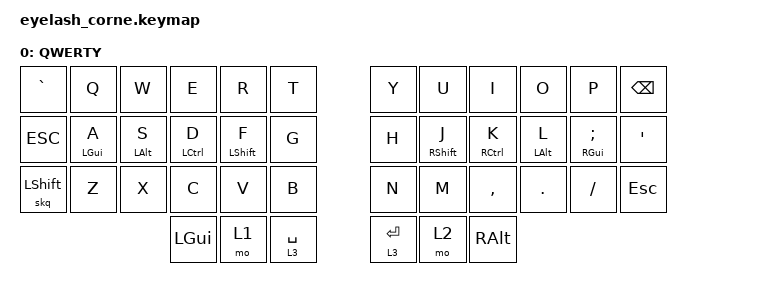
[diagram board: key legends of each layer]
#define ZMK_POINTING_DEFAULT_MOVE_VAL 1200  // 600
#define ZMK_POINTING_DEFAULT_SCRL_VAL 25   // 10

#include <input/processors.dtsi>
#include <zephyr/dt-bindings/input/input-event-codes.h>
#include <behaviors.dtsi>
#include <dt-bindings/zmk/bt.h>
#include <dt-bindings/zmk/keys.h>
#include <dt-bindings/zmk/outputs.h>
#include <dt-bindings/zmk/pointing.h>
#include <dt-bindings/zmk/rgb.h>

// Eyelash corne key positions. Source missing
    // |------------------------|------------------------|
    // | LEFT_HAND_KEYS         |        RIGHT_HAND_KEYS |
    // |                        |                        |
    // | 0  1  2  3  4  5       |      6  7  8  9  10 11 |
    // | 12 13 14 15 16 17      |      18 19 20 21 22 23 |
    // | 24 25 26 27 28 29      |      30 31 32 33 34 35 |
    // |          36 37 38      |      39 40 41          |
    // |------------------------|------------------------|

#define LEFT_HAND_KEYS    \
        0  1  2  3  4  5  \
        12 13 14 15 16 17 \
        24 25 26 27 28 29 \
                 36 37 38

#define RIGHT_HAND_KEYS   \
        6  7  8  9  10 11 \
        18 19 20 21 22 23 \
        30 31 32 33 34 35 \
        39 40 41

#define THUMB_KEYS 36 37 38 39 40 41

/ {
    macros {

        // Create Å character in a macro using Alt-gr
        ao_macro: ao_macro {
            label = "&AO_MACRO";
            compatible = "zmk,behavior-macro";
            #binding-cells = <0>;
            bindings = <&macro_press>
                , <&kp RALT>
                , <&macro_tap>
                , <&kp A>
                , <&macro_release>
                , <&kp RALT>
                , <&macro_tap>
                , <&kp A>;
        };

        // Create Ä character in a macro using Alt-gr
        ae_macro: ae_macro {
            label = "&AE_MACRO";
            compatible = "zmk,behavior-macro";
            #binding-cells = <0>;
            bindings = <&macro_press>
                , <&kp RALT>
                , <&macro_tap>
                , <&kp A>
                , <&macro_release>
                , <&kp RALT>
                , <&macro_press>
                , <&kp LSHFT>
                , <&macro_tap>
                , <&kp SQT>
                , <&macro_release>
                , <&kp LSHFT>;
        };

        // Create Ö character in a macro using Alt-gr
        oe_macro: oe_macro {
            label = "&OE_MACRO";
            compatible = "zmk,behavior-macro";
            #binding-cells = <0>;
            bindings = <&macro_press>
                , <&kp RALT>
                , <&macro_tap>
                , <&kp O>
                , <&macro_release>
                , <&kp RALT>
                , <&macro_press>
                , <&kp LSHFT>
                , <&macro_tap>
                , <&kp SQT>
                , <&macro_release>
                , <&kp LSHFT>;
        };
    };
};

&mmv_input_listener { input-processors = <&zip_xy_scaler 2 1>; };

&msc_input_listener { input-processors = <&zip_scroll_scaler 2 1>; };

&msc {
    acceleration-exponent = <1>;      // 0
    time-to-max-speed-ms = <100>;       // 300
    delay-ms = <0>;                   // 0
};

&mmv {
    time-to-max-speed-ms = <500>;
    acceleration-exponent = <1>;
    trigger-period-ms = <16>;
};

/ {
      combos {
        compatible = "zmk,combos";
        combo_ao_combo {
            timeout-ms = <45>;
            key-positions = <25 9>;
            bindings = <&ao_macro>;
            layers = <0>;
            require-prior-idle-ms = <50>;
        };

        combo_ae_combo {
            timeout-ms = <45>;
            key-positions = <25 15>;
            bindings = <&ae_macro>;
            layers = <0>;
            require-prior-idle-ms = <50>;
        };

        combo_oe_combo {
            timeout-ms = <45>;
            key-positions = <15 9>;
            bindings = <&oe_macro>;
            layers = <0>;
            require-prior-idle-ms = <50>;
        };
      };
    };


behaviors {
    lt {
        flavor = "hold-preferred";
    };
    skq: sticky_key_quick {
        compatible = "zmk,behavior-sticky-key";
        #binding-cells = <1>;
        bindings = <&kp>;
        release-after-ms = <1000>;
        quick-release;
        ignore-modifiers;
    };
    lsd: left_shift_dance {
        compatible = "zmk,behavior-tap-dance";
        #binding-cells = <0>;
        tapping-term-ms = <200>;
        bindings = <&skq LSHIFT>, <&caps_word>;
    };
    rpi: require_prior_idle {
        compatible = "zmk,behavior-hold-tap";
        #binding-cells = <2>;
        flavor = "tap-preferred";
        tapping-term-ms = <200>;
        quick-tap-ms = <250>;
        require-prior-idle-ms = <100>;
        bindings = <&kp>, <&kp>;
    };
    rpil: require_prior_idle_layer {
        compatible = "zmk,behavior-hold-tap";
        #binding-cells = <2>;
        flavor = "tap-preferred";
        tapping-term-ms = <200>;
        quick-tap-ms = <250>;
        require-prior-idle-ms = <100>;
        bindings = <&mo>, <&kp>;
    };
    hrm_left_pinky: hrm_left_pinky {
        compatible = "zmk,behavior-hold-tap";
        flavor = "tap-preferred";
        hold-trigger-key-positions = <RIGHT_HAND_KEYS THUMB_KEYS>;
        hold-trigger-on-release; // wait for other home row mods
        tapping-term-ms = <240>;
        quick-tap-ms = <250>;
        require-prior-idle-ms = <100>;
        #binding-cells = <2>;
        bindings = <&kp>, <&kp>;
    };
    hrm_left_ring: hrm_left_ring {
        compatible = "zmk,behavior-hold-tap";
        flavor = "tap-preferred";
        hold-trigger-key-positions = <RIGHT_HAND_KEYS THUMB_KEYS>;
        hold-trigger-on-release; // wait for other home row mods
        tapping-term-ms = <220>;
        quick-tap-ms = <150>;
        require-prior-idle-ms = <100>;
        #binding-cells = <2>;
        bindings = <&kp>, <&kp>;
    };
    hrm_left_middle: hrm_left_middle {
        compatible = "zmk,behavior-hold-tap";
        flavor = "tap-preferred";
        hold-trigger-key-positions = <RIGHT_HAND_KEYS THUMB_KEYS>;
        hold-trigger-on-release; // wait for other home row mods
        tapping-term-ms = <200>;
        quick-tap-ms = <150>;
        require-prior-idle-ms = <100>;
        #binding-cells = <2>;
        bindings = <&kp>, <&kp>;
    };
    hrm_left_index: hrm_left_index {
        compatible = "zmk,behavior-hold-tap";
        flavor = "tap-preferred";
        hold-trigger-key-positions = <RIGHT_HAND_KEYS THUMB_KEYS>;
        hold-trigger-on-release; // wait for other home row mods
        tapping-term-ms = <180>;
        quick-tap-ms = <150>;
        require-prior-idle-ms = <100>;
        #binding-cells = <2>;
        bindings = <&kp>, <&kp>;
    };

    hrm_right_pinky: hrm_right_pinky {
        compatible = "zmk,behavior-hold-tap";
        flavor = "tap-preferred";
        hold-trigger-key-positions = <LEFT_HAND_KEYS THUMB_KEYS>;
        hold-trigger-on-release; // wait for other home row mods
        tapping-term-ms = <240>;
        quick-tap-ms = <250>;
        require-prior-idle-ms = <100>;
        #binding-cells = <2>;
        bindings = <&kp>, <&kp>;
    };
    hrm_right_ring: hrm_right_ring {
        compatible = "zmk,behavior-hold-tap";
        flavor = "tap-preferred";
        hold-trigger-key-positions = <LEFT_HAND_KEYS THUMB_KEYS>;
        hold-trigger-on-release; // wait for other home row mods
        tapping-term-ms = <220>;
        quick-tap-ms = <150>;
        require-prior-idle-ms = <100>;
        #binding-cells = <2>;
        bindings = <&kp>, <&kp>;
    };
    hrm_right_middle: hrm_right_middle {
        compatible = "zmk,behavior-hold-tap";
        flavor = "tap-preferred";
        hold-trigger-key-positions = <LEFT_HAND_KEYS THUMB_KEYS>;
        hold-trigger-on-release; // wait for other home row mods
        tapping-term-ms = <200>;
        quick-tap-ms = <150>;
        require-prior-idle-ms = <100>;
        #binding-cells = <2>;
        bindings = <&kp>, <&kp>;
    };
    hrm_right_index: hrm_right_index {
        compatible = "zmk,behavior-hold-tap";
        flavor = "tap-preferred";
        hold-trigger-key-positions = <LEFT_HAND_KEYS THUMB_KEYS>;
        hold-trigger-on-release; // wait for other home row mods
        tapping-term-ms = <180>;
        quick-tap-ms = <150>;
        require-prior-idle-ms = <100>;
        #binding-cells = <2>;
        bindings = <&kp>, <&kp>;
    };
    layer_hold_stickytap: layer_hold_stickytap {
        compatible = "zmk,behavior-hold-tap";
        #binding-cells = <2>;
        tapping-term-ms = <150>;
        bindings = <&mo>, <&skq>;
        flavor = "tap-preferred";
        quick-tap-ms = <175>;
    };
};

\ {
    keymap {
        compatible = "zmk,keymap";
        layer_base {
            display-name = "QWERTY";
            bindings = <
                &kp GRAVE   &kp Q                   &kp W                  &kp E                    &kp R                     &kp T         &kp Y &kp U                     &kp I                     &kp O                  &kp P                      &kp BSPC
                &ESC        &hrm_left_pinky LGUI A  &hrm_left_ring LALT S  &hrm_left_middle LCTRL D &hrm_left_pinky LSHIFT F  &kp G         &kp H &hrm_right_index RSHIFT J &hrm_right_middle RCTRL K &hrm_right_ring LALT L &hrm_right_pinky RGUI SEMI &kp SQT
                &skq LSHIFT &kp Z                   &kp X                  &kp C                    &kp V                     &kp B         &kp N &kp M                     &kp COMMA                 &kp DOT                &kp FSLH                   &kp ESC
                                                                           &kp LGUI                 &mo 1                     &lt 3 SPACE   &lt 3 ENTER                     &mo 2                     &kp RALT
            >;
        };
    };
};

